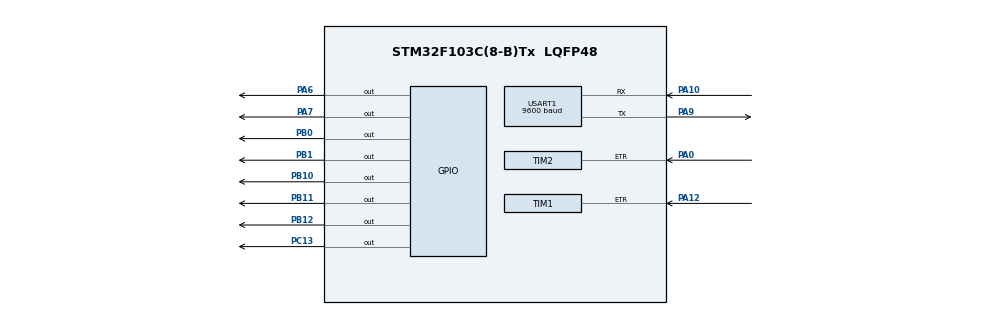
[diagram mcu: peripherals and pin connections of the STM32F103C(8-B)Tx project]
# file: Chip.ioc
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Mcu.Family=STM32F1
Mcu.Name=STM32F103C(8-B)Tx
Mcu.Package=LQFP48
NVIC.PriorityGroup=NVIC_PRIORITYGROUP_4
PA0-WKUP.Signal=S_TIM2_CH1_ETR
PA10.Mode=Asynchronous
PA10.Signal=USART1_RX
PA12.Signal=S_TIM1_ETR
PA6.GPIO_Speed=GPIO_SPEED_FREQ_HIGH
PA6.PinState=GPIO_PIN_RESET
PA6.Signal=GPIO_Output
PA7.GPIO_Speed=GPIO_SPEED_FREQ_HIGH
PA7.PinState=GPIO_PIN_RESET
PA7.Signal=GPIO_Output
PA9.Mode=Asynchronous
PA9.Signal=USART1_TX
PB0.GPIO_Speed=GPIO_SPEED_FREQ_HIGH
PB0.Signal=GPIO_Output
PB1.GPIO_Speed=GPIO_SPEED_FREQ_HIGH
PB1.Signal=GPIO_Output
PB10.GPIO_Speed=GPIO_SPEED_FREQ_HIGH
PB10.Signal=GPIO_Output
PB11.GPIO_Speed=GPIO_SPEED_FREQ_HIGH
PB11.Signal=GPIO_Output
PB12.GPIO_Speed=GPIO_SPEED_FREQ_HIGH
PB12.PinState=GPIO_PIN_RESET
PB12.Signal=GPIO_Output
PC13-TAMPER-RTC.GPIO_Speed=GPIO_SPEED_FREQ_HIGH
PC13-TAMPER-RTC.Signal=GPIO_Output
PD0-OSC_IN.Mode=HSE-External-Oscillator
PD0-OSC_IN.Signal=RCC_OSC_IN
PD1-OSC_OUT.Mode=HSE-External-Oscillator
PD1-OSC_OUT.Signal=RCC_OSC_OUT
ProjectManager.HeapSize=0x200
ProjectManager.StackSize=0x400
ProjectManager.TargetToolchain=STM32CubeIDE
RCC.AHBFreq_Value=72000000
RCC.APB1CLKDivider=RCC_HCLK_DIV2
RCC.APB1Freq_Value=36000000
RCC.APB1TimFreq_Value=72000000
RCC.APB2Freq_Value=72000000
RCC.APB2TimFreq_Value=72000000
RCC.HCLKFreq_Value=72000000
RCC.PLLMUL=RCC_PLL_MUL9
RCC.PLLSourceVirtual=RCC_PLLSOURCE_HSE
RCC.SYSCLKFreq_VALUE=72000000
RCC.SYSCLKSource=RCC_SYSCLKSOURCE_PLLCLK
RCC.USBFreq_Value=72000000
SH.S_TIM1_ETR.0=TIM1_ETR,TriggerSource_ETR
SH.S_TIM2_CH1_ETR.0=TIM2_ETR,TriggerSource_ETR
USART1.BaudRate=9600
USART1.VirtualMode=VM_ASYNC
VP_SYS_VS_ND.Mode=No_Debug
VP_TIM1_VS_ControllerModeClock.Mode=Clock Mode
VP_TIM2_VS_ControllerModeClock.Mode=Clock Mode
board=custom

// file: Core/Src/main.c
/* USER CODE BEGIN Header */
/**
  ******************************************************************************
  * @file           : main.c
  * @brief          : Main program body
  ******************************************************************************
  * @attention
  *
  * Copyright (c) 2024 STMicroelectronics.
  * All rights reserved.
  *
  * This software is licensed under terms that can be found in the LICENSE file
  * in the root directory of this software component.
  * If no LICENSE file comes with this software, it is provided AS-IS.
  *
  ******************************************************************************
  */
/* USER CODE END Header */
#include "main.h"

/* USER CODE BEGIN Includes */

//#include "delay.h"
//#include "sys.h"
//#include "led.h"
#include "lcd_init.h"
#include "lcd.h"
//#include "pic.h"
#include <stdint.h>

/* USER CODE END Includes */

void SystemClock_Config(void);
static void MX_GPIO_Init(void);
static void MX_USART1_UART_Init(void);
static void MX_TIM1_Init(void);
static void MX_TIM2_Init(void);

/* USER CODE BEGIN 0 */

uint16_t i;
/* USER CODE END 0 */

int main(void)
{

  /* MCU Configuration--------------------------------------------------------*/

  /* Reset of all peripherals, Initializes the Flash interface and the Systick. */
  LL_APB2_GRP1_EnableClock(LL_APB2_GRP1_PERIPH_AFIO);
  LL_APB1_GRP1_EnableClock(LL_APB1_GRP1_PERIPH_PWR);

  /* System interrupt init*/
  NVIC_SetPriorityGrouping(NVIC_PRIORITYGROUP_4);

  /* SysTick_IRQn interrupt configuration */
  NVIC_SetPriority(SysTick_IRQn, NVIC_EncodePriority(NVIC_GetPriorityGrouping(),15, 0));

  /** DISABLE: JTAG-DP Disabled and SW-DP Disabled
  */
  LL_GPIO_AF_DisableRemap_SWJ();

  /* Configure the system clock */
  SystemClock_Config();

  /* Initialize all configured peripherals */
  MX_GPIO_Init();
  MX_USART1_UART_Init();
  MX_TIM1_Init();
  MX_TIM2_Init();
  /* USER CODE BEGIN 2 */

  uint16_t cnt=105;

  //delay_init();
  //LED_Init();
  //gpio_Init();
  	LCD_Init();//LCD��ʼ��
  	LCD_Fill(0,0,LCD_W,LCD_H,GRAY);
  //LCD_ShowPicture(20,45,120,29,gImage_pic1);
  	LCD_ShowString(50,0,"CIAE",WHITE,GRAY,32,0);
  	LCD_ShowString(20,40,"WELCOME!",WHITE,GRAY,32,0);
  	//LCD_ShowString(50,20,"NOLOGE!!!",BLACK,WHITE,16,0);
  	//LCD_ShowString(0,30,"DOSE:",BLACK,WHITE,32,0);
  //LCD_ShowChinese(50,20,"�����Ƽ�",BLACK,WHITE,16,0);
//  	LCD_ShowIntNum(50,30,0x00ff,0x08,BLACK,WHITE,16);

  	uint32_t cnt32_A1_old,cnt32_A4_old,cnt32_A1,cnt32_A4;
  	uint32_t rate_A1,rate_A4,sum_A1,sum_A4,ave_A1,ave_A4;
  	uint32_t tmp;
  	uint8_t cntH8,cntL8,check8;
  	LL_mDelay(1);
  	LL_TIM_EnableCounter(TIM1);
  	LL_mDelay(100);
  	LCD_Fill(0,40,LCD_W,LCD_H,GRAY);

  	LCD_ShowString(100,40,"CPS",WHITE,GRAY,32,0);

  /* USER CODE END 2 */

  /* Infinite loop */
  while (1)
  {

    /* USER CODE BEGIN 3 */
	  //cnt=0x0000;
	  //LL_GPIO_SetOutputPin(GPIOC, LL_GPIO_PIN_13);

  	//get 1s count

		cnt32_A1_old=LL_TIM_GetCounter(TIM1);
		//cnt32_A4_old=LL_TIM_GetCounter(TIM22);
		//delay
		LL_mDelay(1000);
		//read cnt and cal rate
		cnt32_A1=LL_TIM_GetCounter(TIM1);
		LL_GPIO_TogglePin(GPIOC,LL_GPIO_PIN_13);

		//cnt32_A4=LL_TIM_GetCounter(TIM22);
		if(cnt32_A1>=cnt32_A1_old) rate_A1=cnt32_A1-cnt32_A1_old;
		else
		{
			rate_A1=65535-cnt32_A1_old;
			rate_A1=rate_A1+cnt32_A1+1;
		}
		//if(cnt32_A4>=cnt32_A4_old) rate_A4=cnt32_A4-cnt32_A4_old;
		//else
		//{
		//	rate_A4=65535-cnt32_A4_old;
		//	rate_A4=rate_A4+cnt32_A4+1;
		//}
		//sum_A1+=rate_A1;
		//sum_A4+=rate_A4;

		//transfer
		tmp=rate_A1/256;
		cntH8=(uint8_t)tmp;
		cntL8=(uint8_t)rate_A1;
		check8=cntH8;
		check8+=cntL8;

		cnt=(uint16_t)rate_A1;
//		cnt++;
//		cnt--;
		LL_GPIO_SetOutputPin(GPIOC,LL_GPIO_PIN_13);

		LL_USART_TransmitData8(USART1,0xA5);
		while(!LL_USART_IsActiveFlag_TXE(USART1)){}
		LL_USART_TransmitData8(USART1,cntH8);
		while(!LL_USART_IsActiveFlag_TXE(USART1)){}
		LL_USART_TransmitData8(USART1,cntL8);
		while(!LL_USART_IsActiveFlag_TXE(USART1)){}

		rate_A4=0;
		tmp=rate_A4/256;
		cntH8=(uint8_t)tmp;
		cntL8=(uint8_t)rate_A4;
		check8+=cntH8;
		check8+=cntL8;

		LL_USART_TransmitData8(USART1,cntH8);
		while(!LL_USART_IsActiveFlag_TXE(USART1)){}
		LL_USART_TransmitData8(USART1,cntL8);
		while(!LL_USART_IsActiveFlag_TXE(USART1)){}
		LL_USART_TransmitData8(USART1,check8);
		while(!LL_USART_IsActiveFlag_TXE(USART1)){}
		LL_USART_TransmitData8(USART1,0x5A);
		while(!LL_USART_IsActiveFlag_TXE(USART1)){}

		LCD_ShowIntNum(10,40,cnt,0x05,WHITE,GRAY,32);

	  	LL_GPIO_ResetOutputPin(GPIOC,LL_GPIO_PIN_13);
	  //LL_mDelay(100);
  }
  /* USER CODE END 3 */
}

void SystemClock_Config(void)
{
  LL_FLASH_SetLatency(LL_FLASH_LATENCY_2);
  while(LL_FLASH_GetLatency()!= LL_FLASH_LATENCY_2)
  {
  }
  LL_RCC_HSE_Enable();

   /* Wait till HSE is ready */
  while(LL_RCC_HSE_IsReady() != 1)
  {

  }
  LL_RCC_PLL_ConfigDomain_SYS(LL_RCC_PLLSOURCE_HSE_DIV_1, LL_RCC_PLL_MUL_9);
  LL_RCC_PLL_Enable();

   /* Wait till PLL is ready */
  while(LL_RCC_PLL_IsReady() != 1)
  {

  }
  LL_RCC_SetAHBPrescaler(LL_RCC_SYSCLK_DIV_1);
  LL_RCC_SetAPB1Prescaler(LL_RCC_APB1_DIV_2);
  LL_RCC_SetAPB2Prescaler(LL_RCC_APB2_DIV_1);
  LL_RCC_SetSysClkSource(LL_RCC_SYS_CLKSOURCE_PLL);

   /* Wait till System clock is ready */
  while(LL_RCC_GetSysClkSource() != LL_RCC_SYS_CLKSOURCE_STATUS_PLL)
  {

  }
  LL_Init1msTick(72000000);
  LL_SetSystemCoreClock(72000000);
}

static void MX_TIM1_Init(void)
{

  LL_TIM_InitTypeDef TIM_InitStruct = {0};

  LL_GPIO_InitTypeDef GPIO_InitStruct = {0};

  /* Peripheral clock enable */
  LL_APB2_GRP1_EnableClock(LL_APB2_GRP1_PERIPH_TIM1);

  LL_APB2_GRP1_EnableClock(LL_APB2_GRP1_PERIPH_GPIOA);
  /**TIM1 GPIO Configuration
  PA12   ------> TIM1_ETR
  */
  GPIO_InitStruct.Pin = LL_GPIO_PIN_12;
  GPIO_InitStruct.Mode = LL_GPIO_MODE_FLOATING;
  LL_GPIO_Init(GPIOA, &GPIO_InitStruct);

  TIM_InitStruct.Prescaler = 0;
  TIM_InitStruct.CounterMode = LL_TIM_COUNTERMODE_UP;
  TIM_InitStruct.Autoreload = 65535;
  TIM_InitStruct.ClockDivision = LL_TIM_CLOCKDIVISION_DIV1;
  TIM_InitStruct.RepetitionCounter = 0;
  LL_TIM_Init(TIM1, &TIM_InitStruct);
  LL_TIM_DisableARRPreload(TIM1);
  LL_TIM_SetTriggerInput(TIM1, LL_TIM_TS_ETRF);
  LL_TIM_SetClockSource(TIM1, LL_TIM_CLOCKSOURCE_EXT_MODE1);
  LL_TIM_DisableExternalClock(TIM1);
  LL_TIM_ConfigETR(TIM1, LL_TIM_ETR_POLARITY_NONINVERTED, LL_TIM_ETR_PRESCALER_DIV1, LL_TIM_ETR_FILTER_FDIV1);
  LL_TIM_DisableIT_TRIG(TIM1);
  LL_TIM_DisableDMAReq_TRIG(TIM1);
  LL_TIM_SetTriggerOutput(TIM1, LL_TIM_TRGO_RESET);
  LL_TIM_DisableMasterSlaveMode(TIM1);

}

static void MX_TIM2_Init(void)
{

  LL_TIM_InitTypeDef TIM_InitStruct = {0};

  LL_GPIO_InitTypeDef GPIO_InitStruct = {0};

  /* Peripheral clock enable */
  LL_APB1_GRP1_EnableClock(LL_APB1_GRP1_PERIPH_TIM2);

  LL_APB2_GRP1_EnableClock(LL_APB2_GRP1_PERIPH_GPIOA);
  /**TIM2 GPIO Configuration
  PA0-WKUP   ------> TIM2_ETR
  */
  GPIO_InitStruct.Pin = LL_GPIO_PIN_0;
  GPIO_InitStruct.Mode = LL_GPIO_MODE_FLOATING;
  LL_GPIO_Init(GPIOA, &GPIO_InitStruct);

  TIM_InitStruct.Prescaler = 0;
  TIM_InitStruct.CounterMode = LL_TIM_COUNTERMODE_UP;
  TIM_InitStruct.Autoreload = 65535;
  TIM_InitStruct.ClockDivision = LL_TIM_CLOCKDIVISION_DIV1;
  LL_TIM_Init(TIM2, &TIM_InitStruct);
  LL_TIM_DisableARRPreload(TIM2);
  LL_TIM_SetTriggerInput(TIM2, LL_TIM_TS_ETRF);
  LL_TIM_SetClockSource(TIM2, LL_TIM_CLOCKSOURCE_EXT_MODE1);
  LL_TIM_DisableExternalClock(TIM2);
  LL_TIM_ConfigETR(TIM2, LL_TIM_ETR_POLARITY_NONINVERTED, LL_TIM_ETR_PRESCALER_DIV1, LL_TIM_ETR_FILTER_FDIV1);
  LL_TIM_DisableIT_TRIG(TIM2);
  LL_TIM_DisableDMAReq_TRIG(TIM2);
  LL_TIM_SetTriggerOutput(TIM2, LL_TIM_TRGO_RESET);
  LL_TIM_DisableMasterSlaveMode(TIM2);

}

static void MX_USART1_UART_Init(void)
{

  LL_USART_InitTypeDef USART_InitStruct = {0};

  LL_GPIO_InitTypeDef GPIO_InitStruct = {0};

  /* Peripheral clock enable */
  LL_APB2_GRP1_EnableClock(LL_APB2_GRP1_PERIPH_USART1);

  LL_APB2_GRP1_EnableClock(LL_APB2_GRP1_PERIPH_GPIOA);
  /**USART1 GPIO Configuration
  PA9   ------> USART1_TX
  PA10   ------> USART1_RX
  */
  GPIO_InitStruct.Pin = LL_GPIO_PIN_9;
  GPIO_InitStruct.Mode = LL_GPIO_MODE_ALTERNATE;
  GPIO_InitStruct.Speed = LL_GPIO_SPEED_FREQ_HIGH;
  GPIO_InitStruct.OutputType = LL_GPIO_OUTPUT_PUSHPULL;
  LL_GPIO_Init(GPIOA, &GPIO_InitStruct);

  GPIO_InitStruct.Pin = LL_GPIO_PIN_10;
  GPIO_InitStruct.Mode = LL_GPIO_MODE_FLOATING;
  LL_GPIO_Init(GPIOA, &GPIO_InitStruct);

  USART_InitStruct.BaudRate = 9600;
  USART_InitStruct.DataWidth = LL_USART_DATAWIDTH_8B;
  USART_InitStruct.StopBits = LL_USART_STOPBITS_1;
  USART_InitStruct.Parity = LL_USART_PARITY_NONE;
  USART_InitStruct.TransferDirection = LL_USART_DIRECTION_TX_RX;
  USART_InitStruct.HardwareFlowControl = LL_USART_HWCONTROL_NONE;
  USART_InitStruct.OverSampling = LL_USART_OVERSAMPLING_16;
  LL_USART_Init(USART1, &USART_InitStruct);
  LL_USART_ConfigAsyncMode(USART1);
  LL_USART_Enable(USART1);

}

static void MX_GPIO_Init(void)
{
  LL_GPIO_InitTypeDef GPIO_InitStruct = {0};

  /* GPIO Ports Clock Enable */
  LL_APB2_GRP1_EnableClock(LL_APB2_GRP1_PERIPH_GPIOC);
  LL_APB2_GRP1_EnableClock(LL_APB2_GRP1_PERIPH_GPIOD);
  LL_APB2_GRP1_EnableClock(LL_APB2_GRP1_PERIPH_GPIOA);
  LL_APB2_GRP1_EnableClock(LL_APB2_GRP1_PERIPH_GPIOB);

  /**/
  LL_GPIO_ResetOutputPin(GPIOC, LL_GPIO_PIN_13);

  /**/
  LL_GPIO_ResetOutputPin(GPIOA, LL_GPIO_PIN_6|LL_GPIO_PIN_7);

  /**/
  LL_GPIO_ResetOutputPin(GPIOB, LL_GPIO_PIN_0|LL_GPIO_PIN_1|LL_GPIO_PIN_10|LL_GPIO_PIN_11
                          |LL_GPIO_PIN_12);

  /**/
  GPIO_InitStruct.Pin = LL_GPIO_PIN_13;
  GPIO_InitStruct.Mode = LL_GPIO_MODE_OUTPUT;
  GPIO_InitStruct.Speed = LL_GPIO_SPEED_FREQ_HIGH;
  GPIO_InitStruct.OutputType = LL_GPIO_OUTPUT_PUSHPULL;
  LL_GPIO_Init(GPIOC, &GPIO_InitStruct);

  /**/
  GPIO_InitStruct.Pin = LL_GPIO_PIN_6|LL_GPIO_PIN_7;
  GPIO_InitStruct.Mode = LL_GPIO_MODE_OUTPUT;
  GPIO_InitStruct.Speed = LL_GPIO_SPEED_FREQ_HIGH;
  GPIO_InitStruct.OutputType = LL_GPIO_OUTPUT_PUSHPULL;
  LL_GPIO_Init(GPIOA, &GPIO_InitStruct);

  /**/
  GPIO_InitStruct.Pin = LL_GPIO_PIN_0|LL_GPIO_PIN_1|LL_GPIO_PIN_10|LL_GPIO_PIN_11
                          |LL_GPIO_PIN_12;
  GPIO_InitStruct.Mode = LL_GPIO_MODE_OUTPUT;
  GPIO_InitStruct.Speed = LL_GPIO_SPEED_FREQ_HIGH;
  GPIO_InitStruct.OutputType = LL_GPIO_OUTPUT_PUSHPULL;
  LL_GPIO_Init(GPIOB, &GPIO_InitStruct);

}

void Error_Handler(void)
{
  __disable_irq();
  while (1)
  {
  }
}
